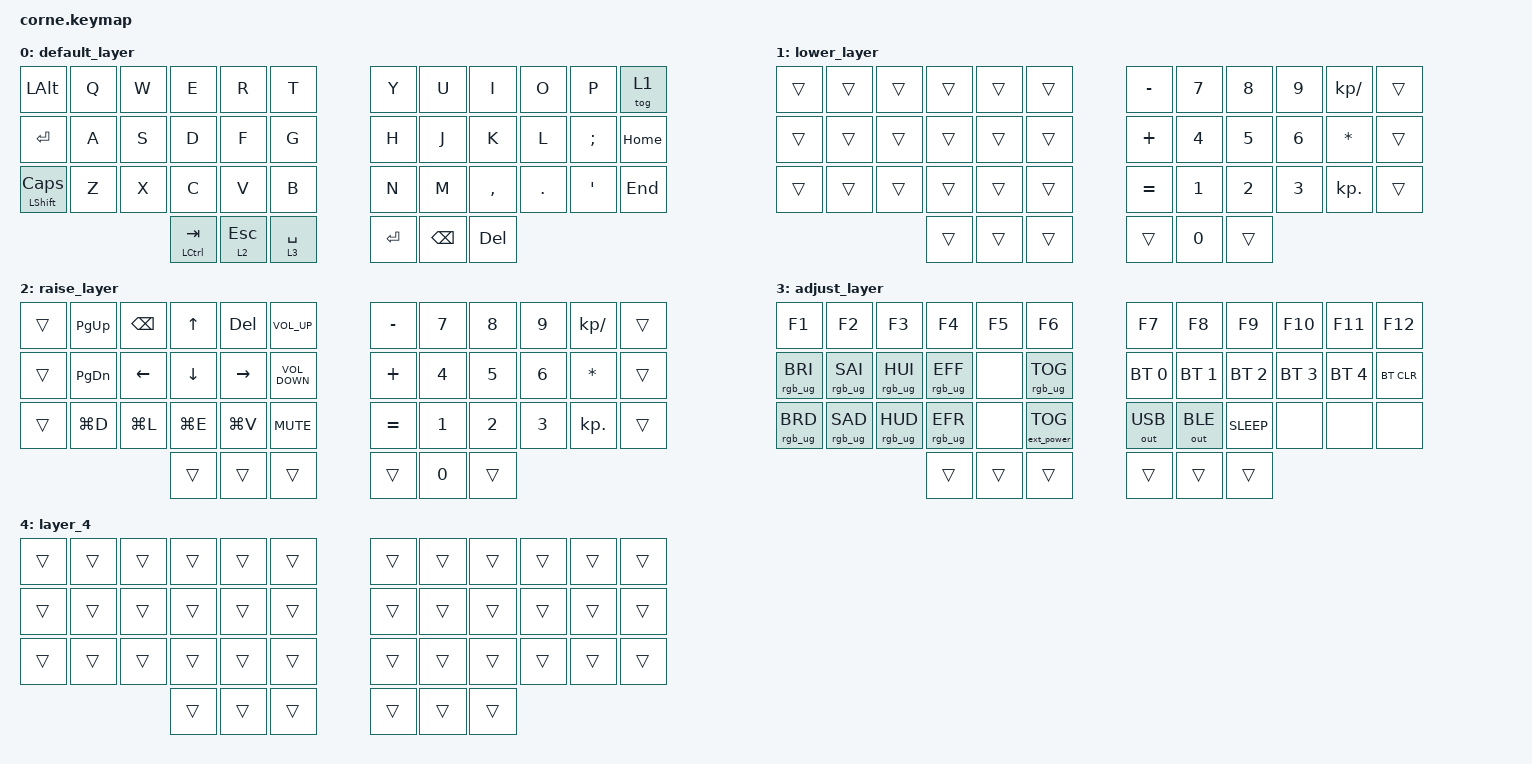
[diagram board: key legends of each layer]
/*
 * Copyright (c) 2020 The ZMK Contributors
 *
 * SPDX-License-Identifier: MIT
 */

#include <../boards/shields/corne/boards/nice_nano.overlay>
#include <behaviors.dtsi>
#include <dt-bindings/zmk/bt.h>
#include <dt-bindings/zmk/ext_power.h>
#include <dt-bindings/zmk/keys.h>
#include <dt-bindings/zmk/outputs.h>
#include <dt-bindings/zmk/rgb.h>

/ {
    keymap {
        compatible = "zmk,keymap";

        default_layer {
            // -------------------------------------------------------------------------------------
            // |  TAB |  Q  |  W  |  E  |  R  |  T  |       |  Y  |  U   |  I  |  O  |  P  |   BKSP    |
            // | CTRL |  A  |  S  |  D  |  F  |  G  |       |  H  |  J   |  K  |  L  |  ;  |    '      |
            // | SHFT |  Z  |  X  |  C  |  V  |  B  |       |  N  |  M   |  ,  |  .  |  -  | SHFT(RET) |
            //                    | WIN | LWR | SPA |       | RTN | RSE  | ALT |

            bindings = <
&kp LEFT_ALT    &kp Q  &kp W  &kp E          &kp R         &kp T          &kp Y    &kp U          &kp I       &kp O    &kp P     &tog 1
&kp ENTER       &kp A  &kp S  &kp D          &kp F         &kp G          &kp H    &kp J          &kp K       &kp L    &kp SEMI  &kp HOME
&mt LSHFT CAPS  &kp Z  &kp X  &kp C          &kp V         &kp B          &kp N    &kp M          &kp COMMA   &kp DOT  &kp SQT   &kp END
                              &mt LCTRL TAB  &lt 2 ESCAPE  &lt 3 SPACE    &kp RET  &kp BACKSPACE  &kp DELETE
            >;
        };

        lower_layer {
            // ----------------------------------------------------------------------------------
            // |  ESC |  1   |  2  |  3   |  4     |  5  |          |  6  |  7  |  8  |  9  |  0   |    DEL   |
            // |  CAPS|      |     |      |        |     |          | HOME| PGUP|  UP |PGDN |  ?   |     ^    |
            // | SHFT | UNDO | CUT | COPY | PASTE| |     |          | END | LFT | DWN | RGT | PRSC | SHFT(RET)|
            //                              |     |     |          | RET | ADJ |    |

            bindings = <
&trans  &trans  &trans  &trans  &trans  &trans    &kp MINUS  &kp N7        &kp N8        &kp N9        &kp KP_SLASH  &trans
&trans  &trans  &trans  &trans  &trans  &trans    &kp PLUS   &kp NUMBER_4  &kp N5        &kp NUMBER_6  &kp ASTERISK  &trans
&trans  &trans  &trans  &trans  &trans  &trans    &kp EQUAL  &kp NUMBER_1  &kp NUMBER_2  &kp NUMBER_3  &kp KP_DOT    &trans
                        &trans  &trans  &trans    &trans     &kp N0        &trans
            >;
        };

        // -----------------------------------------------------------------------------------------
        // |  ESC |  !  |  @  |  #  |  $  |  %  |   |  &  |  /  |  (  |  )  |  =  | DEL |
        // | CTRL |   ? |     |     |     |     |   |  -  |  *  |  [  |  ]  |  \  |  `   |
        // | <    |   > |     |     |     |     |   |  _  |  +  |  {  |  }  | "|" |  ~   |
        //                    | GUI | LWR | SPC |   | ENT | RSE | ALT |

        raise_layer {
            bindings = <
&trans  &kp PAGE_UP    &kp BACKSPACE  &kp UP_ARROW  &kp DELETE  &kp C_VOLUME_UP      &kp MINUS  &kp N7        &kp N8        &kp N9        &kp KP_DIVIDE  &trans
&trans  &kp PAGE_DOWN  &kp LEFT       &kp DOWN      &kp RIGHT   &kp C_VOLUME_DOWN    &kp PLUS   &kp NUMBER_4  &kp N5        &kp NUMBER_6  &kp ASTERISK   &trans
&trans  &kp LG(D)      &kp LG(L)      &kp LG(E)     &kp LG(V)   &kp C_MUTE           &kp EQUAL  &kp NUMBER_1  &kp NUMBER_2  &kp NUMBER_3  &kp KP_DOT     &trans
                                      &trans        &trans      &trans               &trans     &kp N0        &trans
            >;
        };

        adjust_layer {
            // -----------------------------------------------------------------------------------------
            // |  F1      |  F2      |  F3      | F4       |    F5   |  F6     |   |    F7   |   F8  |    F9   |   F10 |   F11 | F12    |
            // | RGB BRI+ | RGB SAT+ | RGB HUE+ | RGB ANI+ |  BL_TOG | RGB TOG |   |    BT1  |   BT2 |   BT3   |   BT4 |   BT5 | BT CLR |
            // | RGB BRI- | RGB SAT- | RGB HUE- | RGB ANI- |         |  EP_TOG |   |    USB  |   BLE |K_SLEEP  |       |       |  RESET |
            //                                              |     |     |     |     |     |

            bindings = <
&kp F1           &kp F2           &kp F3           &kp F4           &kp F5  &kp F6               &kp F7        &kp F8        &kp F9        &kp F10       &kp F11       &kp F12
&rgb_ug RGB_BRI  &rgb_ug RGB_SAI  &rgb_ug RGB_HUI  &rgb_ug RGB_EFF  &none   &rgb_ug RGB_TOG      &bt BT_SEL 0  &bt BT_SEL 1  &bt BT_SEL 2  &bt BT_SEL 3  &bt BT_SEL 4  &bt BT_CLR
&rgb_ug RGB_BRD  &rgb_ug RGB_SAD  &rgb_ug RGB_HUD  &rgb_ug RGB_EFR  &none   &ext_power EP_TOG    &out OUT_USB  &out OUT_BLE  &kp K_SLEEP   &none         &none         &none
                                                   &trans           &trans  &trans               &trans        &trans        &trans
            >;
        };

        layer_4 {
            bindings = <
&trans  &trans  &trans  &trans  &trans  &trans    &trans  &trans  &trans  &trans  &trans  &trans
&trans  &trans  &trans  &trans  &trans  &trans    &trans  &trans  &trans  &trans  &trans  &trans
&trans  &trans  &trans  &trans  &trans  &trans    &trans  &trans  &trans  &trans  &trans  &trans
                        &trans  &trans  &trans    &trans  &trans  &trans
            >;
        };
    };
};
